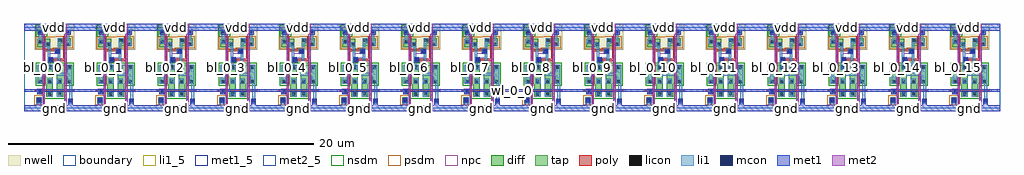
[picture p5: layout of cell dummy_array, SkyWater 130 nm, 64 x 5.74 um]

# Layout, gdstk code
import gdstk
lib = gdstk.Library(unit=1e-6, precision=1e-09)
def R(c, l, rs):  # rectangles x0, y0, x1, y1
    for r in rs: c.add(gdstk.rectangle(r[:2], r[2:], *l))
def A(c, l, x, y, w, h, nx, ny, dx, dy):  # array of equal rectangles
    R(c, l, [(x+i*dx, y+j*dy, x+i*dx+w, y+j*dy+h) for i in range(nx) for j in range(ny)])
nwell = (64, 20)
diff = (65, 20)
tap = (65, 44)
poly = (66, 20)
licon = (66, 44)
li1_5 = (67, 5)
li1 = (67, 20)
mcon = (67, 44)
met1_5 = (68, 5)
met1 = (68, 20)
met2_5 = (69, 5)
met2 = (69, 20)
nsdm = (93, 44)
psdm = (94, 20)
npc = (95, 20)
boundary = (235, 4)

dummy_cell_1rw = lib.new_cell('dummy_cell_1rw')
R(dummy_cell_1rw, nwell, [(0.7,3.82,3.3,5.54)])
R(dummy_cell_1rw, diff, [(1.46,0.76,1.88,1.59), (2.15,0.76,2.57,1.59), (0.88,1.59,1.88,2.85), (2.15,1.59,3.15,2.85), (0.88,4,1.73,4.55), (2.21,4.05,3.06,4.6)])
R(dummy_cell_1rw, tap, [(0.8,0.32,1.18,0.73), (0.88,4.82,1.41,5.35)])
R(dummy_cell_1rw, poly, [(0.88,0.92,1.21,1.1), (0.7,1.1,3.3,1.25), (1.23,1.46,1.38,3.74), (2.65,1.46,2.8,3.09), (1.6,3.02,1.93,3.09), (1.6,3.09,2.8,3.24), (1.6,3.24,1.93,3.35), (2.56,3.24,2.71,4.73), (2.02,3.56,2.35,3.74), (1.23,3.74,2.35,3.89), (1.23,3.89,1.38,4.68)])
R(dummy_cell_1rw, licon, [(0.91,0.44,1.08,0.61), (1.63,0.83,1.8,1), (2.23,0.84,2.4,1.01), (0.96,1,1.13,1.17), (0.96,1.67,1.13,1.84), (1.63,1.67,1.8,1.84), (2.23,1.67,2.4,1.84), (2.9,1.67,3.07,1.84), (0.96,2.6,1.13,2.77), (1.63,2.6,1.8,2.77), (2.23,2.6,2.4,2.77), (2.9,2.6,3.07,2.77), (1.68,3.1,1.85,3.27), (2.1,3.64,2.27,3.81), (1.48,4.08,1.65,4.25), (2.81,4.13,2.98,4.3), (0.96,4.3,1.13,4.47), (2.29,4.35,2.46,4.52), (1,4.91,1.17,5.08)])
R(dummy_cell_1rw, li1_5, [(1.72,3.14,1.83,3.25), (2.13,3.67,2.24,3.78)])
R(dummy_cell_1rw, li1, [(2.98,0.3,3.15,1.59), (0.83,0.35,1.16,0.69), (1.55,0.76,1.88,1.08), (2.15,0.76,2.48,1.09), (0.88,0.92,1.21,1.25), (0.88,1.59,1.21,2.14), (1.55,1.59,1.88,1.92), (2.15,1.59,2.48,1.92), (2.82,1.59,3.15,2.14), (0.88,2.14,3.15,2.31), (0.88,2.31,1.21,2.85), (2.82,2.31,3.15,2.85), (1.55,2.52,1.88,2.85), (2.15,2.52,2.48,2.85), (1.55,2.85,1.72,3.02), (2.21,2.85,2.38,3.56), (1.55,3.02,1.93,3.35), (1.55,3.35,1.72,4), (2.02,3.56,2.38,3.89), (2.21,3.89,2.38,4.27), (1.4,4,1.73,4.33), (2.73,4.05,3.06,4.38), (0.88,4.22,1.21,4.55), (2.21,4.27,2.54,4.6), (2.81,4.38,2.98,4.83), (0.98,4.55,1.15,4.83), (0.92,4.83,1.25,5.16), (2.74,4.83,3.06,5.16)])
R(dummy_cell_1rw, mcon, [(2.98,0.38,3.15,0.55), (0.91,0.44,1.08,0.61), (0.96,1,1.13,1.17), (1.68,3.1,1.85,3.27), (2.1,3.64,2.27,3.81), (1,4.91,1.17,5.08), (2.81,4.91,2.98,5.08)])
R(dummy_cell_1rw, met1_5, [(2.57,-0.05,2.68,0.06), (0.98,1.02,1.09,1.13), (1.81,5.2,2.23,5.4)])
R(dummy_cell_1rw, met1, [(0,-0.2,4,0.21), (0,-0.2,4,0.21), (0.85,0.21,1.14,0.68), (2.9,0.21,3.2,0.62), (0.88,0.92,1.21,1.07), (0.9,1.07,1.19,1.23), (0.9,1.07,1.19,1.23), (1.62,3.04,1.91,3.33), (2.04,3.58,2.33,3.87), (0.92,4.83,1.25,5.09), (2.74,4.83,3.06,5.09), (0,5.09,4,5.54), (0,5.09,4,5.54)])
R(dummy_cell_1rw, met2_5, [(1.23,0.51,1.36,0.65), (2.65,0.52,2.78,0.66)])
R(dummy_cell_1rw, met2, [(1.23,-0.2,1.37,5.54), (1.23,-0.2,1.37,5.54), (2.65,-0.2,2.79,5.54), (2.65,-0.2,2.79,5.54)])
R(dummy_cell_1rw, nsdm, [(1.335,0.635,2.695,1.465), (0.755,1.465,3.275,2.975), (0.755,4.695,1.535,5.475)])
R(dummy_cell_1rw, psdm, [(0.675,0.195,1.305,0.855), (0.755,3.875,1.855,3.925), (0.755,3.925,3.185,4.675), (2.085,4.675,3.185,4.725)])
R(dummy_cell_1rw, npc, [(0.86,0.9,1.23,1.27), (1.58,3,1.95,3.32), (1.58,3.32,2.27,3.37), (1.68,3.37,2.27,3.54), (1.68,3.54,2.37,3.59), (2,3.59,2.37,3.91)])
R(dummy_cell_1rw, boundary, [(0,0,4,5.32)])
dummy_cell_1rw.add(gdstk.Label('vdd', (2.02,5.3), layer=68, texttype=5))
dummy_cell_1rw.add(gdstk.Label('gnd', (2.625,0.005), layer=68, texttype=5))
dummy_cell_1rw.add(gdstk.Label('wl', (1.035,1.075), layer=68, texttype=5))
dummy_cell_1rw.add(gdstk.Label('q', (1.775,3.195), layer=67, texttype=5))
dummy_cell_1rw.add(gdstk.Label('qb', (2.185,3.725), layer=67, texttype=5))
dummy_cell_1rw.add(gdstk.Label('br', (2.715,0.59), layer=69, texttype=5))
dummy_cell_1rw.add(gdstk.Label('bl', (1.295,0.58), layer=69, texttype=5))
dummy_cell_1rw.add(gdstk.Label('bl', (1.3,2.67), layer=69, texttype=20))
dummy_cell_1rw.add(gdstk.Label('br', (2.72,2.67), layer=69, texttype=20))
dummy_cell_1rw.add(gdstk.Label('wl', (1.045,1.15), layer=68, texttype=20))
dummy_cell_1rw.add(gdstk.Label('vdd', (2,5.315), layer=68, texttype=20))
dummy_cell_1rw.add(gdstk.Label('gnd', (2,0.005), layer=68, texttype=20))

dummy_array = lib.new_cell('dummy_array')
A(dummy_array, met1, 0, -0.2, 4, 0.41, 16, 1, 4, 0)
A(dummy_array, met1, 0, 5.09, 4, 0.45, 16, 1, 4, 0)
R(dummy_array, met1, [(0,1.07,64,1.23)])
R(dummy_array, met2, [(1.23,0,1.37,5.32), (2.65,0,2.79,5.32), (5.23,0,5.37,5.32), (6.65,0,6.79,5.32), (9.23,0,9.37,5.32), (10.65,0,10.79,5.32), (13.23,0,13.37,5.32), (14.65,0,14.79,5.32), (17.23,0,17.37,5.32), (18.65,0,18.79,5.32), (21.23,0,21.37,5.32), (22.65,0,22.79,5.32), (25.23,0,25.37,5.32), (26.65,0,26.79,5.32), (29.23,0,29.37,5.32), (30.65,0,30.79,5.32), (33.23,0,33.37,5.32), (34.65,0,34.79,5.32), (37.23,0,37.37,5.32), (38.65,0,38.79,5.32), (41.23,0,41.37,5.32), (42.65,0,42.79,5.32), (45.23,0,45.37,5.32), (46.65,0,46.79,5.32), (49.23,0,49.37,5.32), (50.65,0,50.79,5.32), (53.23,0,53.37,5.32), (54.65,0,54.79,5.32), (57.23,0,57.37,5.32), (58.65,0,58.79,5.32), (61.23,0,61.37,5.32), (62.65,0,62.79,5.32)])
R(dummy_array, boundary, [(0,0,64,5.32)])
dummy_array.add(gdstk.Reference(dummy_cell_1rw, (0,0)))
dummy_array.add(gdstk.Reference(dummy_cell_1rw, (4,0)))
dummy_array.add(gdstk.Reference(dummy_cell_1rw, (8,0)))
dummy_array.add(gdstk.Reference(dummy_cell_1rw, (12,0)))
dummy_array.add(gdstk.Reference(dummy_cell_1rw, (16,0)))
dummy_array.add(gdstk.Reference(dummy_cell_1rw, (20,0)))
dummy_array.add(gdstk.Reference(dummy_cell_1rw, (24,0)))
dummy_array.add(gdstk.Reference(dummy_cell_1rw, (28,0)))
dummy_array.add(gdstk.Reference(dummy_cell_1rw, (32,0)))
dummy_array.add(gdstk.Reference(dummy_cell_1rw, (36,0)))
dummy_array.add(gdstk.Reference(dummy_cell_1rw, (40,0)))
dummy_array.add(gdstk.Reference(dummy_cell_1rw, (44,0)))
dummy_array.add(gdstk.Reference(dummy_cell_1rw, (48,0)))
dummy_array.add(gdstk.Reference(dummy_cell_1rw, (52,0)))
dummy_array.add(gdstk.Reference(dummy_cell_1rw, (56,0)))
dummy_array.add(gdstk.Reference(dummy_cell_1rw, (60,0)))
dummy_array.add(gdstk.Label('bl_0_0', (1.3,2.66), layer=69, texttype=20))
dummy_array.add(gdstk.Label('br_0_0', (2.72,2.66), layer=69, texttype=20))
dummy_array.add(gdstk.Label('bl_0_1', (5.3,2.66), layer=69, texttype=20))
dummy_array.add(gdstk.Label('br_0_1', (6.72,2.66), layer=69, texttype=20))
dummy_array.add(gdstk.Label('bl_0_2', (9.3,2.66), layer=69, texttype=20))
dummy_array.add(gdstk.Label('br_0_2', (10.72,2.66), layer=69, texttype=20))
dummy_array.add(gdstk.Label('bl_0_3', (13.3,2.66), layer=69, texttype=20))
dummy_array.add(gdstk.Label('br_0_3', (14.72,2.66), layer=69, texttype=20))
dummy_array.add(gdstk.Label('bl_0_4', (17.3,2.66), layer=69, texttype=20))
dummy_array.add(gdstk.Label('br_0_4', (18.72,2.66), layer=69, texttype=20))
dummy_array.add(gdstk.Label('bl_0_5', (21.3,2.66), layer=69, texttype=20))
dummy_array.add(gdstk.Label('br_0_5', (22.72,2.66), layer=69, texttype=20))
dummy_array.add(gdstk.Label('bl_0_6', (25.3,2.66), layer=69, texttype=20))
dummy_array.add(gdstk.Label('br_0_6', (26.72,2.66), layer=69, texttype=20))
dummy_array.add(gdstk.Label('bl_0_7', (29.3,2.66), layer=69, texttype=20))
dummy_array.add(gdstk.Label('br_0_7', (30.72,2.66), layer=69, texttype=20))
dummy_array.add(gdstk.Label('bl_0_8', (33.3,2.66), layer=69, texttype=20))
dummy_array.add(gdstk.Label('br_0_8', (34.72,2.66), layer=69, texttype=20))
dummy_array.add(gdstk.Label('bl_0_9', (37.3,2.66), layer=69, texttype=20))
dummy_array.add(gdstk.Label('br_0_9', (38.72,2.66), layer=69, texttype=20))
dummy_array.add(gdstk.Label('bl_0_10', (41.3,2.66), layer=69, texttype=20))
dummy_array.add(gdstk.Label('br_0_10', (42.72,2.66), layer=69, texttype=20))
dummy_array.add(gdstk.Label('bl_0_11', (45.3,2.66), layer=69, texttype=20))
dummy_array.add(gdstk.Label('br_0_11', (46.72,2.66), layer=69, texttype=20))
dummy_array.add(gdstk.Label('bl_0_12', (49.3,2.66), layer=69, texttype=20))
dummy_array.add(gdstk.Label('br_0_12', (50.72,2.66), layer=69, texttype=20))
dummy_array.add(gdstk.Label('bl_0_13', (53.3,2.66), layer=69, texttype=20))
dummy_array.add(gdstk.Label('br_0_13', (54.72,2.66), layer=69, texttype=20))
dummy_array.add(gdstk.Label('bl_0_14', (57.3,2.66), layer=69, texttype=20))
dummy_array.add(gdstk.Label('br_0_14', (58.72,2.66), layer=69, texttype=20))
dummy_array.add(gdstk.Label('bl_0_15', (61.3,2.66), layer=69, texttype=20))
dummy_array.add(gdstk.Label('br_0_15', (62.72,2.66), layer=69, texttype=20))
dummy_array.add(gdstk.Label('wl_0_0', (32,1.15), layer=68, texttype=20))
dummy_array.add(gdstk.Label('vdd', (26,5.315), layer=68, texttype=20))
dummy_array.add(gdstk.Label('vdd', (10,5.315), layer=68, texttype=20))
dummy_array.add(gdstk.Label('vdd', (38,5.315), layer=68, texttype=20))
dummy_array.add(gdstk.Label('vdd', (42,5.315), layer=68, texttype=20))
dummy_array.add(gdstk.Label('vdd', (18,5.315), layer=68, texttype=20))
dummy_array.add(gdstk.Label('vdd', (14,5.315), layer=68, texttype=20))
dummy_array.add(gdstk.Label('vdd', (46,5.315), layer=68, texttype=20))
dummy_array.add(gdstk.Label('vdd', (50,5.315), layer=68, texttype=20))
dummy_array.add(gdstk.Label('vdd', (2,5.315), layer=68, texttype=20))
dummy_array.add(gdstk.Label('vdd', (22,5.315), layer=68, texttype=20))
dummy_array.add(gdstk.Label('vdd', (54,5.315), layer=68, texttype=20))
dummy_array.add(gdstk.Label('vdd', (34,5.315), layer=68, texttype=20))
dummy_array.add(gdstk.Label('vdd', (58,5.315), layer=68, texttype=20))
dummy_array.add(gdstk.Label('vdd', (62,5.315), layer=68, texttype=20))
dummy_array.add(gdstk.Label('vdd', (6,5.315), layer=68, texttype=20))
dummy_array.add(gdstk.Label('vdd', (30,5.315), layer=68, texttype=20))
dummy_array.add(gdstk.Label('gnd', (10,0.005), layer=68, texttype=20))
dummy_array.add(gdstk.Label('gnd', (42,0.005), layer=68, texttype=20))
dummy_array.add(gdstk.Label('gnd', (50,0.005), layer=68, texttype=20))
dummy_array.add(gdstk.Label('gnd', (22,0.005), layer=68, texttype=20))
dummy_array.add(gdstk.Label('gnd', (26,0.005), layer=68, texttype=20))
dummy_array.add(gdstk.Label('gnd', (6,0.005), layer=68, texttype=20))
dummy_array.add(gdstk.Label('gnd', (54,0.005), layer=68, texttype=20))
dummy_array.add(gdstk.Label('gnd', (18,0.005), layer=68, texttype=20))
dummy_array.add(gdstk.Label('gnd', (14,0.005), layer=68, texttype=20))
dummy_array.add(gdstk.Label('gnd', (62,0.005), layer=68, texttype=20))
dummy_array.add(gdstk.Label('gnd', (34,0.005), layer=68, texttype=20))
dummy_array.add(gdstk.Label('gnd', (46,0.005), layer=68, texttype=20))
dummy_array.add(gdstk.Label('gnd', (30,0.005), layer=68, texttype=20))
dummy_array.add(gdstk.Label('gnd', (38,0.005), layer=68, texttype=20))
dummy_array.add(gdstk.Label('gnd', (2,0.005), layer=68, texttype=20))
dummy_array.add(gdstk.Label('gnd', (58,0.005), layer=68, texttype=20))

lib.write_gds('dummy_array.gds')
